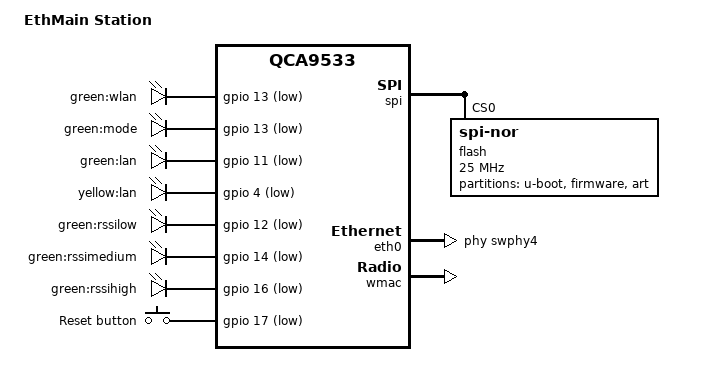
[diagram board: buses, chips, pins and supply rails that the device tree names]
// SPDX-License-Identifier: GPL-2.0-or-later OR MIT

#include "qca953x.dtsi"

#include <dt-bindings/gpio/gpio.h>
#include <dt-bindings/input/input.h>

/ {
	compatible = "bhu,ethmain-station", "qca,qca9533";
	model = "EthMain Station";

	aliases {
		label-mac-device = &wmac;
	};

	leds: leds {
		compatible = "gpio-leds";

		TODO: wifi {
			label = "green:wlan";
			gpios = <&gpio 13 GPIO_ACTIVE_LOW>;
			linux,default-trigger = "phy0tpt";
		};

		mode {
			label = "green:mode";
			gpios = <&gpio 13 GPIO_ACTIVE_LOW>;
		};

		lan1 {
			label = "green:lan";
			gpios = <&gpio 11 GPIO_ACTIVE_LOW>;
		};

		lan2 {
			label = "yellow:lan";
			gpios = <&gpio 4 GPIO_ACTIVE_LOW>;
		};

		rssilow {
			label = "green:rssilow";
			gpios = <&gpio 12 GPIO_ACTIVE_LOW>;
		};

		rssimedium {
			label = "green:rssimedium";
			gpios = <&gpio 14 GPIO_ACTIVE_LOW>;
		};

		rssihigh: rssihigh {
			label = "green:rssihigh";
			gpios = <&gpio 16 GPIO_ACTIVE_LOW>;
		};
	};

	keys {
		compatible = "gpio-keys";

		reset {
			label = "Reset button";
			linux,code = <KEY_RESTART>;
			gpios = <&gpio 17 GPIO_ACTIVE_LOW>;
			debounce-interval = <60>;
		};
	};
};

&spi {
	status = "okay";

	flash@0 {
		compatible = "jedec,spi-nor";
		reg = <0>;
		spi-max-frequency = <25000000>;

		partitions {
			compatible = "fixed-partitions";
			#address-cells = <1>;
			#size-cells = <1>;

			uboot: partition@0 {
				label = "u-boot";
				reg = <0x000000 0x020000>;
				read-only;
			};

			partition@20000 {
				compatible = "bhu,firmware";
				label = "firmware";
				reg = <0x020000 0xfd0000>;
			};

			art: partition@ff0000 {
				label = "art";
				reg = <0xff0000 0x010000>;
				read-only;
			};
		};
	};
};

&eth0 {
	status = "okay";

	phy-handle = <&swphy4>;

	nvmem-cells = <&macaddr_uboot_1fc00>;
	nvmem-cell-names = "mac-address";
	mac-address-increment = <1>;
};

&eth1 {
	nvmem-cells = <&macaddr_uboot_1fc00>;
	nvmem-cell-names = "mac-address";
};

&wmac {
	status = "okay";

	mtd-cal-data = <&art 0x1000>;
	nvmem-cells = <&macaddr_uboot_1fc00>;
	nvmem-cell-names = "mac-address";
};

&uboot {
	compatible = "nvmem-cells";
	#address-cells = <1>;
	#size-cells = <1>;

	macaddr_uboot_1fc00: macaddr@1fc00 {
		reg = <0x1fc00 0x6>;
	};
};
